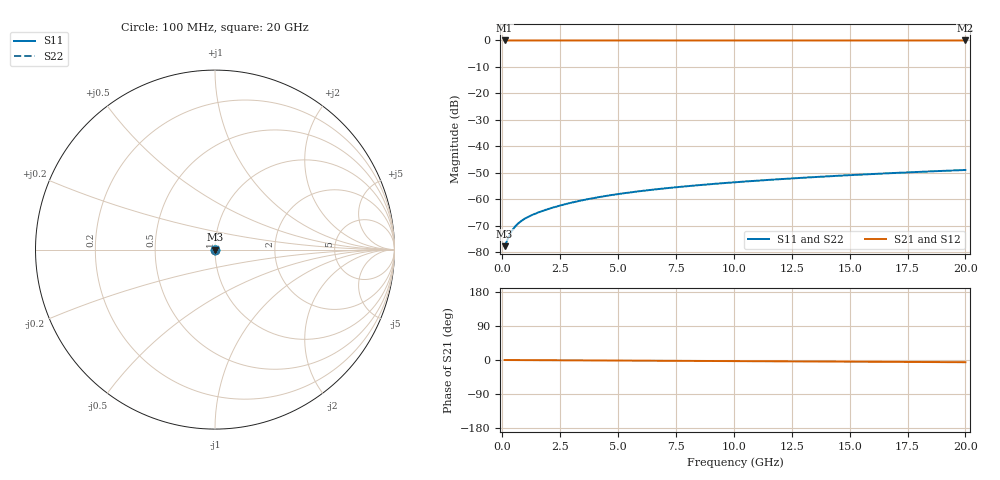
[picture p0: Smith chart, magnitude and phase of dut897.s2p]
! Touchstone file exported from HFSS 2026.1.0
!  File:  C:/ffzhzh/LocalFiles/Ansys_Project_Files/temp_train_TSV_897_1783186075_51560.aedt
!  Generated:  01:29:16 AM Jul  5, 2026
!  Design:  TSV
!  Project:  temp_train_TSV_897_1783186075_51560
! Variables:
!  h_bsmrdl = 2um
!  h_ox = 20um
!  h_rdl = 5um
!  h_sub = 56.59um
!  h_tmrdl = 5um
!  h_tsv = 56.59um
!  h_via = 3um
!  l_bsmrdl = 300um
!  l_sub = 417.66um
!  l_tmrdl = 200um
!  m_sub = 200um
!  pitch = 36.72um
!  r_tsv = 8.83um
!  s_tmrdl = 10um
!  w_bsmrdl = 18um
!  w_sub = 500um
!  w_tmrdl = 12um
!  x_tsv_center1 = 206um
!  x_tsv_center2 = 524um
!  x_tsv_center3 = 736um
!  x_tsv_center4 = 1054um
!  x_tsv_center5 = 1266um
!  x_tsv_center6 = 1584um
# GHz S MA R 50.000000
! Terminal data exported
! Port[1] = TSV1_1_T1
! Port[2] = TSV1_1_T2
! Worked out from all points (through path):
!   200 points, 100 MHz to 20 GHz, reference 50 ohm
!   highest |S21| = 0.00 dB at 100 MHz (marker M1); lowest = 0.0 dB at 20 GHz (marker M2)
!   lowest |S11| = -77.6 dB at 100 MHz (marker M3), VSWR 1.00, Z = 50 + j0.0052 ohm
!   |S11| at or under -10 dB: start of sweep to end of sweep
!   |S22| runs from -77.6 to -48.9 dB; largest |S21 - S12| = 3.3e-15
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0.1  0.0001312 23.4  0.9999 -0.0  0.9999 -0.0  0.0001312 23.4
! Gamma 0 0 0 0
! Port Impedance 50 0 50 0
0.3  0.0002067 45.2  0.9999 -0.1  0.9999 -0.1  0.0002067 45.2
0.4  0.0002483 48.8  0.9998 -0.1  0.9998 -0.1  0.0002483 48.8
0.5  0.0002874 50.6  0.9998 -0.2  0.9998 -0.2  0.0002874 50.6
0.6  0.0003233 51.5  0.9998 -0.2  0.9998 -0.2  0.0003233 51.5
0.7  0.000356 52.0  0.9998 -0.2  0.9998 -0.2  0.000356 52.0
0.8  0.000386 52.5  0.9998 -0.2  0.9998 -0.2  0.000386 52.5
1  0.0004397 53.2  0.9997 -0.3  0.9997 -0.3  0.0004397 53.2
1.2  0.0004881 54.0  0.9997 -0.4  0.9997 -0.4  0.0004881 54.0
1.4  0.0005335 54.9  0.9997 -0.4  0.9997 -0.4  0.0005335 54.9
2  0.0006627 57.6  0.9996 -0.6  0.9996 -0.6  0.0006627 57.6
2.7  0.0008095 60.0  0.9996 -0.8  0.9996 -0.8  0.0008095 60.0
3.5  0.0009728 61.7  0.9996 -1.0  0.9996 -1.0  0.0009728 61.7
4.2  0.001111 62.6  0.9995 -1.2  0.9995 -1.2  0.001111 62.6
5  0.001261 63.4  0.9995 -1.5  0.9995 -1.5  0.001261 63.4
5.9  0.001424 64.0  0.9994 -1.7  0.9994 -1.7  0.001424 64.0
6.8  0.00158 64.4  0.9994 -2.0  0.9994 -2.0  0.00158 64.4
8.3  0.001829 65.1  0.9993 -2.4  0.9993 -2.4  0.001829 65.1
10.1  0.002118 65.7  0.9992 -3.0  0.9992 -3.0  0.002118 65.7
13.4  0.002629 66.5  0.9991 -3.9  0.9991 -3.9  0.002629 66.5
16.7  0.003122 66.7  0.999 -4.9  0.999 -4.9  0.003123 66.7
20  0.003594 66.5  0.9989 -5.8  0.9989 -5.8  0.003595 66.5
